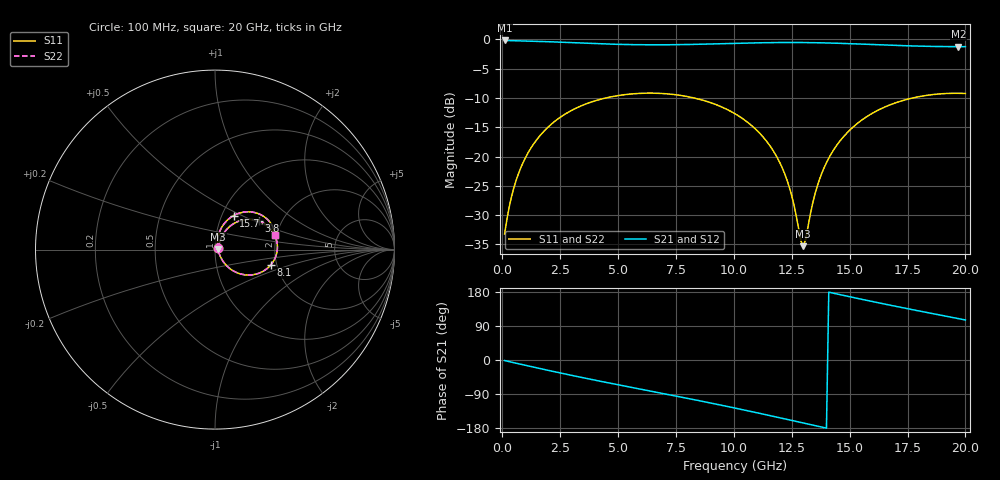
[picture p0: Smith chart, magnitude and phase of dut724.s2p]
! Touchstone file exported from HFSS 2026.1.0
!  File:  C:/ffzhzh/LocalFiles/Ansys_Project_Files/temp_train_TSV_RDL_724_1783202069_55132.aedt
!  Generated:  06:03:28 AM Jul  5, 2026
!  Design:  TSV_RDL
!  Project:  temp_train_TSV_RDL_724_1783202069_55132
! Variables:
!  h_bsmrdl = 5.49um
!  h_ox = 20um
!  h_rdl = 5um
!  h_sub = 59.65um
!  h_tmrdl = 4.77um
!  h_tsv = 59.65um
!  h_via = 3um
!  l_bsmrdl = 611.87um
!  l_sub = 4410.78um
!  l_tmrdl = 518.51um
!  m_sub = 200um
!  pitch = 31.16um
!  r_tsv = 8.47um
!  s_tmrdl = 10um
!  w_bsmrdl = 20.61um
!  w_sub = 500um
!  w_tmrdl = 13.1um
!  x_tsv_center1 = 525.06um
!  x_tsv_center2 = 1157.54um
!  x_tsv_center3 = 1689.15um
!  x_tsv_center4 = 2321.63um
!  x_tsv_center5 = 2853.24um
!  x_tsv_center6 = 3485.72um
# GHz S MA R 50.000000
! Terminal data exported
! Port[1] = TM_RDL1_1_T1
! Port[2] = TM_RDL5_1_T1
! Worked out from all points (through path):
!   200 points, 100 MHz to 20 GHz, reference 50 ohm
!   highest |S21| = -0.17 dB at 100 MHz (marker M1); lowest = -1.2 dB at 19.7 GHz (marker M2)
!   group delay of S21, straight-line fit = 35.3 ps
!   lowest |S11| = -35.3 dB at 13 GHz (marker M3), VSWR 1.03, Z = 51.7 + j0.384 ohm
!   |S11| at or under -10 dB: start of sweep to 4.456 GHz; 8.297 GHz to 17.71 GHz (9.412 GHz wide, 72.4 % of centre)
!   |S22| runs from -35.4 to -9.2 dB; largest |S21 - S12| = 1.7e-14
!   S11 on the Smith chart (normalised r, x): 100 MHz: 1.04, +0.02; 3.8 GHz: 1.53, +0.53; 8.1 GHz: 1.86, -0.35; 15.7 GHz: 1.14, +0.45; 20 GHz: 1.97, +0.36
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0.1  0.02183 28.7  0.9811 -1.5  0.9811 -1.5  0.02183 28.7
! Gamma 0 0 0 0
! Port Impedance 50 0 50 0
0.5  0.05425 58.9  0.9768 -7.1  0.9768 -7.1  0.05425 58.9
1.2  0.1151 61.1  0.9693 -16.8  0.9693 -16.8  0.1151 61.1
2.2  0.1953 51.8  0.9535 -30.2  0.9535 -30.2  0.1953 51.8
3.5  0.276 36.9  0.93 -47.0  0.93 -47.0  0.276 36.9
3.8  0.2904 33.4  0.925 -50.7  0.925 -50.7  0.2904 33.4
5.3  0.3382 16.2  0.9062 -68.9  0.9062 -68.9  0.3383 16.2
6.8  0.3466 -0.7  0.9007 -86.8  0.9007 -86.8  0.3466 -0.7
8.1  0.3224 -15.3  0.9067 -102.4  0.9067 -102.4  0.3225 -15.4
10.1  0.2291 -38.1  0.9274 -127.5  0.9274 -127.5  0.2292 -38.2
11.1  0.1595 -48.9  0.9371 -140.6  0.9371 -140.6  0.1596 -49.0
11.9  0.0959 -55.1  0.9419 -151.3  0.9419 -151.3  0.09592 -55.2
12.4  0.05448 -53.5  0.9429 -158.1  0.9429 -158.1  0.05447 -53.8
12.9  0.01898 -13.7  0.9421 -164.9  0.9421 -164.9  0.01875 -14.3
13  0.01719 12.5  0.9417 -166.2  0.9417 -166.2  0.01689 12.3
13.4  0.03957 69.3  0.9396 -171.6  0.9396 -171.6  0.03936 69.6
13.8  0.07223 76.0  0.9363 -177.1  0.9363 -177.1  0.07207 76.3
14.3  0.1133 74.6  0.9309 176.2  0.9309 176.2  0.1132 74.8
15.7  0.2167 61.2  0.9103 157.9  0.9103 157.9  0.2166 61.3
16.7  0.2744 50.1  0.8944 145.3  0.8944 145.3  0.2743 50.2
19.7  0.3473 16.9  0.8685 109.2  0.8685 109.2  0.3472 17.0
20  0.3459 13.6  0.8688 105.6  0.8688 105.6  0.3458 13.7
